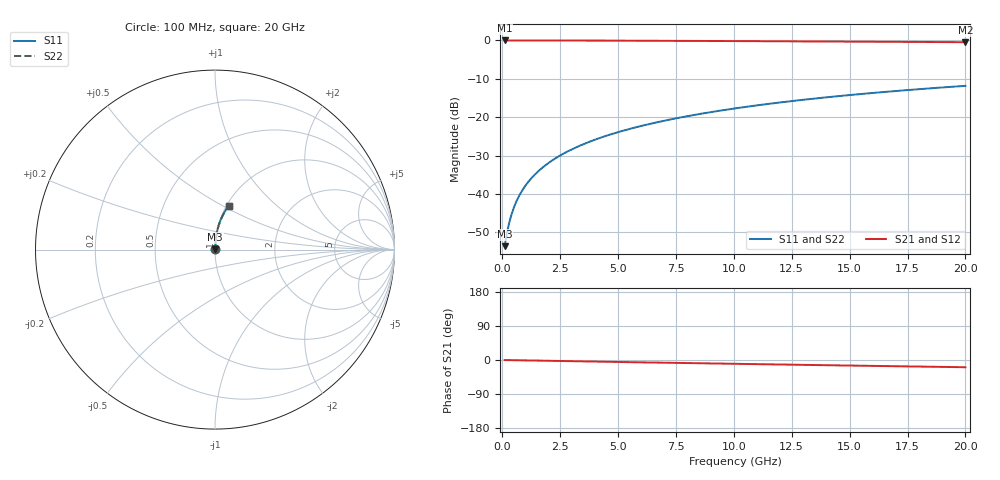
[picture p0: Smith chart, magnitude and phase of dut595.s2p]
! Touchstone file exported from HFSS 2024.1.0
!  File:  C:/UserFiles/LocalFiles/RDL_TSV_Batchsim/temp_RDL_bottom_595_1779691280.aedt
!  Generated:  02:44:25 PM May 25, 2026
!  Design:  RDL_bottom
!  Project:  temp_RDL_bottom_595_1779691280
!  Setup:  Setup1
!  Solution:  Sweep
! Variables:
!  dtsv = 10.80580581um
!  hbump = 3um
!  htsv = 56.88um
!  ldown = 184.72um
!  lrdl = 100um
!  p = 40
!  p1 = 58.92um
!  rhole = 1um
!  t = 450um
!  tdown = 3.13um
!  trdl = 3.915915916um
!  wdown = 14.5um
!  wrdl = 20um
# GHz S MA R 50.000000
! Terminal data exported
! Port[1] = RDL1_T1
! Port[2] = RDL1_T2
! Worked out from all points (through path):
!   200 points, 100 MHz to 20 GHz, reference 50 ohm
!   highest |S21| = -0.01 dB at 100 MHz (marker M1); lowest = -0.5 dB at 20 GHz (marker M2)
!   group delay of S21, straight-line fit = 2.64 ps
!   lowest |S11| = -53.6 dB at 100 MHz (marker M3), VSWR 1.00, Z = 50.2 + j0.131 ohm
!   |S11| at or under -10 dB: start of sweep to end of sweep
!   |S22| runs from -53.6 to -11.8 dB; largest |S21 - S12| = 4.4e-15
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0.1  0.002098 38.6  0.9984 -0.1  0.9984 -0.1  0.002098 38.6
! Gamma 0 0 0 0
! Port Impedance 50 0 50 0
0.2  0.003095 57.4  0.9983 -0.2  0.9983 -0.2  0.003095 57.4
0.3  0.004251 66.4  0.9983 -0.3  0.9983 -0.3  0.004251 66.4
0.4  0.005455 71.4  0.9982 -0.4  0.9982 -0.4  0.005455 71.4
0.5  0.006677 74.5  0.9982 -0.5  0.9982 -0.5  0.006677 74.5
0.6  0.007907 76.7  0.9981 -0.6  0.9981 -0.6  0.007907 76.7
0.8  0.01038 79.5  0.998 -0.9  0.998 -0.9  0.01038 79.5
1.1  0.01412 81.9  0.9978 -1.2  0.9978 -1.2  0.01412 81.9
1.5  0.01913 83.6  0.9975 -1.6  0.9975 -1.6  0.01913 83.6
1.8  0.02291 84.3  0.9973 -1.9  0.9973 -1.9  0.02291 84.3
2.1  0.0267 84.8  0.997 -2.2  0.997 -2.2  0.0267 84.8
2.7  0.03432 85.4  0.9963 -2.8  0.9963 -2.8  0.03432 85.4
3.5  0.04455 85.6  0.9952 -3.7  0.9952 -3.7  0.04455 85.6
4.2  0.05356 85.5  0.994 -4.4  0.994 -4.4  0.05356 85.5
5  0.06394 85.3  0.9925 -5.2  0.9925 -5.2  0.06394 85.3
5.9  0.07568 84.8  0.9906 -6.1  0.9906 -6.1  0.07568 84.8
6.8  0.08749 84.3  0.9885 -7.0  0.9885 -7.0  0.08749 84.3
8.3  0.1072 83.2  0.9848 -8.4  0.9848 -8.4  0.1072 83.2
10.1  0.1309 81.7  0.9799 -10.1  0.9799 -10.1  0.1309 81.7
13.4  0.1739 78.8  0.9702 -13.2  0.9702 -13.2  0.1739 78.8
16.7  0.2158 75.7  0.9594 -16.2  0.9594 -16.2  0.2158 75.7
20  0.2562 72.7  0.9476 -19.1  0.9476 -19.1  0.2562 72.7
